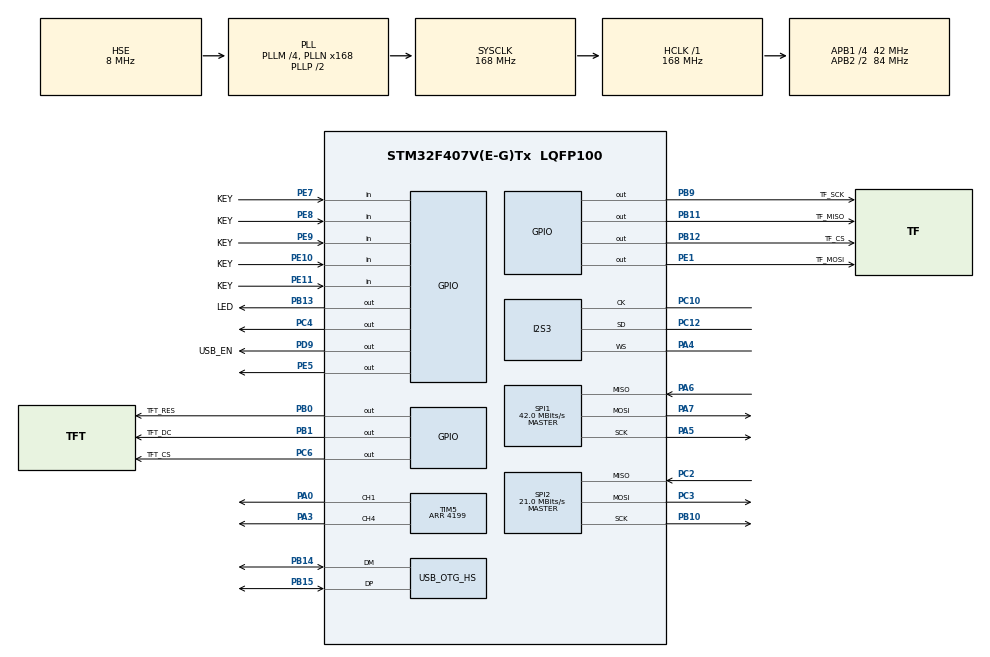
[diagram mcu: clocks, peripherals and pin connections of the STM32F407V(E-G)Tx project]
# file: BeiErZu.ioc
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FATFS._USE_FIND=1
FATFS._USE_LFN=3
FATFS._USE_MUTEX=0
FREERTOS.Tasks01=defaultTask,24,128,StartDefaultTask,Default,NULL,Dynamic,NULL,NULL
I2S3.AudioFreq=I2S_AUDIOFREQ_44K
I2S3.ErrorAudioFreq=0.26 %
I2S3.FullDuplexMode=I2S_FULLDUPLEXMODE_DISABLE
I2S3.Instance=SPI$Index
I2S3.RealAudioFreq=44.117 KHz
I2S3.VirtualMode=I2S_MODE_MASTER
Mcu.Family=STM32F4
Mcu.Name=STM32F407V(E-G)Tx
Mcu.Package=LQFP100
NVIC.OTG_HS_IRQn=true\:5\:0\:false\:false\:true\:true\:false\:true\:true
NVIC.PriorityGroup=NVIC_PRIORITYGROUP_4
NVIC.TIM1_TRG_COM_TIM11_IRQn=true\:15\:0\:false\:false\:true\:false\:false\:true\:true
NVIC.TimeBase=TIM1_TRG_COM_TIM11_IRQn
NVIC.TimeBaseIP=TIM11
PA0-WKUP.Signal=S_TIM5_CH1
PA13.Mode=Serial_Wire
PA13.Signal=SYS_JTMS-SWDIO
PA14.Mode=Serial_Wire
PA14.Signal=SYS_JTCK-SWCLK
PA3.Signal=S_TIM5_CH4
PA4.Mode=Half_Duplex_Master
PA4.Signal=I2S3_WS
PA5.Mode=Full_Duplex_Master
PA5.Signal=SPI1_SCK
PA6.Mode=Full_Duplex_Master
PA6.Signal=SPI1_MISO
PA7.Mode=Full_Duplex_Master
PA7.Signal=SPI1_MOSI
PB0.GPIO_Label=TFT_RES
PB0.Signal=GPIO_Output
PB1.GPIO_Label=TFT_DC
PB1.Signal=GPIO_Output
PB10.Mode=Full_Duplex_Master
PB10.Signal=SPI2_SCK
PB11.GPIO_Label=TF_MISO
PB11.Signal=GPIO_Output
PB12.GPIO_Label=TF_CS
PB12.Signal=GPIO_Output
PB13.GPIO_Label=LED
PB13.GPIO_ModeDefaultOutputPP=GPIO_MODE_OUTPUT_PP
PB13.GPIO_PuPd=GPIO_NOPULL
PB13.PinState=GPIO_PIN_RESET
PB13.Signal=GPIO_Output
PB14.Mode=Host_FS
PB14.Signal=USB_OTG_HS_DM
PB15.Mode=Host_FS
PB15.Signal=USB_OTG_HS_DP
PB9.GPIO_Label=TF_SCK
PB9.Signal=GPIO_Output
PC10.Mode=Half_Duplex_Master
PC10.Signal=I2S3_CK
PC12.Mode=Half_Duplex_Master
PC12.Signal=I2S3_SD
PC14-OSC32_IN.Mode=LSE-External-Oscillator
PC14-OSC32_IN.Signal=RCC_OSC32_IN
PC15-OSC32_OUT.Mode=LSE-External-Oscillator
PC15-OSC32_OUT.Signal=RCC_OSC32_OUT
PC2.Mode=Full_Duplex_Master
PC2.Signal=SPI2_MISO
PC3.Mode=Full_Duplex_Master
PC3.Signal=SPI2_MOSI
PC4.Signal=GPIO_Output
PC6.GPIO_Label=TFT_CS
PC6.Signal=GPIO_Output
PD9.GPIO_Label=USB_EN
PD9.GPIO_ModeDefaultOutputPP=GPIO_MODE_OUTPUT_PP
PD9.PinState=GPIO_PIN_SET
PD9.Signal=GPIO_Output
PE1.GPIO_Label=TF_MOSI
PE1.Signal=GPIO_Output
PE10.GPIO_Label=KEY
PE10.GPIO_Mode=GPIO_MODE_INPUT
PE10.GPIO_PuPd=GPIO_PULLUP
PE10.Signal=GPIO_Input
PE11.GPIO_Label=KEY
PE11.GPIO_Mode=GPIO_MODE_INPUT
PE11.GPIO_PuPd=GPIO_PULLUP
PE11.Signal=GPIO_Input
PE5.Signal=GPIO_Output
PE7.GPIO_Label=KEY
PE7.GPIO_Mode=GPIO_MODE_INPUT
PE7.GPIO_PuPd=GPIO_PULLUP
PE7.Signal=GPIO_Input
PE8.GPIO_Label=KEY
PE8.GPIO_Mode=GPIO_MODE_INPUT
PE8.GPIO_PuPd=GPIO_PULLUP
PE8.Signal=GPIO_Input
PE9.GPIO_Label=KEY
PE9.GPIO_Mode=GPIO_MODE_INPUT
PE9.GPIO_PuPd=GPIO_PULLUP
PE9.Signal=GPIO_Input
PH0-OSC_IN.Mode=HSE-External-Oscillator
PH0-OSC_IN.Signal=RCC_OSC_IN
PH1-OSC_OUT.Mode=HSE-External-Oscillator
PH1-OSC_OUT.Signal=RCC_OSC_OUT
ProjectManager.HeapSize=0x200
ProjectManager.StackSize=0x400
ProjectManager.TargetToolchain=CMake
RCC.48MHZClocksFreq_Value=48000000
RCC.AHBFreq_Value=168000000
RCC.APB1CLKDivider=RCC_HCLK_DIV4
RCC.APB1Freq_Value=42000000
RCC.APB1TimFreq_Value=84000000
RCC.APB2CLKDivider=RCC_HCLK_DIV2
RCC.APB2Freq_Value=84000000
RCC.APB2TimCLKDivider=2
RCC.APB2TimFreq_Value=168000000
RCC.CortexFreq_Value=168000000
RCC.HCLKFreq_Value=168000000
RCC.HSE_VALUE=8000000
RCC.HSI_VALUE=16000000
RCC.PLLM=4
RCC.PLLN=168
RCC.PLLQ=7
RCC.SYSCLKFreq_VALUE=168000000
RCC.SYSCLKSource=RCC_SYSCLKSOURCE_PLLCLK
RCC.VCOOutputFreq_Value=336000000
SH.S_TIM5_CH1.0=TIM5_CH1,PWM Generation1 CH1
SH.S_TIM5_CH4.0=TIM5_CH4,PWM Generation4 CH4
SPI1.BaudRatePrescaler=SPI_BAUDRATEPRESCALER_2
SPI1.CLKPhase=SPI_PHASE_1EDGE
SPI1.CLKPolarity=SPI_POLARITY_LOW
SPI1.CalculateBaudRate=42.0 MBits/s
SPI1.Direction=SPI_DIRECTION_2LINES
SPI1.Mode=SPI_MODE_MASTER
SPI1.VirtualType=VM_MASTER
SPI2.CalculateBaudRate=21.0 MBits/s
SPI2.Direction=SPI_DIRECTION_2LINES
SPI2.Mode=SPI_MODE_MASTER
SPI2.VirtualType=VM_MASTER
TIM5.Channel-PWM\ Generation1\ CH1=TIM_CHANNEL_1
TIM5.Channel-PWM\ Generation4\ CH4=TIM_CHANNEL_4
TIM5.Period=4199
USB_HOST.SW_VBUS_DRIVE_HID_HS=true
USB_HOST.USBH_HandleTypeDef-HID_HS=hUsbHostHS
USB_HOST.USBH_PROCESS_STACK_SIZE=1024
USB_HOST.VirtualModeHS=Hid
USB_OTG_HS.VirtualMode-Host_FS=Host_FS
VP_FATFS_VS_Generic.Mode=User_defined
VP_FREERTOS_VS_CMSIS_V2.Mode=CMSIS_V2
VP_SYS_VS_tim11.Mode=TIM11
VP_TIM5_VS_ClockSourceINT.Mode=Internal
VP_USB_HOST_VS_USB_HOST_HID_HS.Mode=HID_HS
board=custom

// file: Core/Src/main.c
/* USER CODE BEGIN Header */
/**
  ******************************************************************************
  * @file           : main.c
  * @brief          : Main program body
  ******************************************************************************
  * @attention
  *
  * Copyright (c) 2026 STMicroelectronics.
  * All rights reserved.
  *
  * This software is licensed under terms that can be found in the LICENSE file
  * in the root directory of this software component.
  * If no LICENSE file comes with this software, it is provided AS-IS.
  *
  ******************************************************************************
  */
/* USER CODE END Header */
#include "main.h"
#include "cmsis_os.h"
#include "i2s.h"
#include "spi.h"
#include "tim.h"
#include "usb_host.h"
#include "gpio.h"

/* USER CODE BEGIN Includes */
#include "app_backlight.h"
#include "app_led.h"
#include "app_lcd.h"
#include "app_lvgl.h"
/* USER CODE END Includes */

void SystemClock_Config(void);
void MX_FREERTOS_Init(void);

/* USER CODE BEGIN 0 */
uint8_t lcd_num = 0;
/* USER CODE END 0 */

int main(void)
{

  /* MCU Configuration--------------------------------------------------------*/

  /* Reset of all peripherals, Initializes the Flash interface and the Systick. */
  HAL_Init();

  /* Configure the system clock */
  SystemClock_Config();

  /* Initialize all configured peripherals */
  MX_GPIO_Init();
  MX_SPI1_Init();
  MX_SPI2_Init();
  MX_TIM5_Init();
  MX_I2S3_Init();
  /* USER CODE BEGIN 2 */
  app_backlight_init(50);

  /* USER CODE END 2 */

  /* Init scheduler */
  osKernelInitialize();

  /* Call init function for freertos objects (in cmsis_os2.c) */
  MX_FREERTOS_Init();

  /* Start scheduler */
  osKernelStart();

  /* We should never get here as control is now taken by the scheduler */

  /* Infinite loop */
  while (1)
  {

  }
}

void SystemClock_Config(void)
{
  RCC_OscInitTypeDef RCC_OscInitStruct = {0};
  RCC_ClkInitTypeDef RCC_ClkInitStruct = {0};

  /** Configure the main internal regulator output voltage
  */
  __HAL_RCC_PWR_CLK_ENABLE();
  __HAL_PWR_VOLTAGESCALING_CONFIG(PWR_REGULATOR_VOLTAGE_SCALE1);

  /** Initializes the RCC Oscillators according to the specified parameters
  * in the RCC_OscInitTypeDef structure.
  */
  RCC_OscInitStruct.OscillatorType = RCC_OSCILLATORTYPE_HSE;
  RCC_OscInitStruct.HSEState = RCC_HSE_ON;
  RCC_OscInitStruct.PLL.PLLState = RCC_PLL_ON;
  RCC_OscInitStruct.PLL.PLLSource = RCC_PLLSOURCE_HSE;
  RCC_OscInitStruct.PLL.PLLM = 4;
  RCC_OscInitStruct.PLL.PLLN = 168;
  RCC_OscInitStruct.PLL.PLLP = RCC_PLLP_DIV2;
  RCC_OscInitStruct.PLL.PLLQ = 7;
  if (HAL_RCC_OscConfig(&RCC_OscInitStruct) != HAL_OK)
  {
    Error_Handler();
  }

  /** Initializes the CPU, AHB and APB buses clocks
  */
  RCC_ClkInitStruct.ClockType = RCC_CLOCKTYPE_HCLK|RCC_CLOCKTYPE_SYSCLK
                              |RCC_CLOCKTYPE_PCLK1|RCC_CLOCKTYPE_PCLK2;
  RCC_ClkInitStruct.SYSCLKSource = RCC_SYSCLKSOURCE_PLLCLK;
  RCC_ClkInitStruct.AHBCLKDivider = RCC_SYSCLK_DIV1;
  RCC_ClkInitStruct.APB1CLKDivider = RCC_HCLK_DIV4;
  RCC_ClkInitStruct.APB2CLKDivider = RCC_HCLK_DIV2;

  if (HAL_RCC_ClockConfig(&RCC_ClkInitStruct, FLASH_LATENCY_5) != HAL_OK)
  {
    Error_Handler();
  }
}

void HAL_TIM_PeriodElapsedCallback(TIM_HandleTypeDef *htim)
{
  if (htim->Instance == TIM11) {
    HAL_IncTick();
    lv_tick_inc(1);
  }
}

void Error_Handler(void)
{
  __disable_irq();
  while (1)
  {
  }
}

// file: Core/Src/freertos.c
/* USER CODE BEGIN Header */
/**
  ******************************************************************************
  * File Name          : freertos.c
  * Description        : Code for freertos applications
  ******************************************************************************
  * @attention
  *
  * Copyright (c) 2026 STMicroelectronics.
  * All rights reserved.
  *
  * This software is licensed under terms that can be found in the LICENSE file
  * in the root directory of this software component.
  * If no LICENSE file comes with this software, it is provided AS-IS.
  *
  ******************************************************************************
  */
/* USER CODE END Header */

#include "FreeRTOS.h"
#include "task.h"
#include "main.h"
#include "cmsis_os.h"

/* USER CODE BEGIN Includes */
#include "app_led.h"
#include "app_lcd.h"
#include "app_lvgl.h"
#include "app_mouse.h"
#include "app_music_player.h"
#include "app_ui.h"
#include "app_w25q128.h"
#include "app_event.h"
#include "app_fault.h"
/* USER CODE END Includes */

/* USER CODE BEGIN Variables */
osThreadId_t startTaskHandle;
osThreadId_t keyTaskHandle;
osThreadId_t lcdTaskHandle;
osThreadId_t w25q128TaskHandle;
osThreadId_t usbinitTaskHandle;
osThreadId_t audioTaskHandle;
osThreadId_t saveTaskHandle;
const osThreadAttr_t startTask_attributes = {
  .name = "startTask",
#if APP_W25Q128_FONT_PROGRAMMER_ENABLE
  .stack_size = 1536,
#else
  .stack_size = 256 * 4,
#endif
  .priority = (osPriority_t) osPriorityNormal,
};
const osThreadAttr_t keyTask_attributes = {
  .name = "keyTask",
  .stack_size = 128 * 4,
  .priority = (osPriority_t) osPriorityNormal,
};
const osThreadAttr_t lcdTask_attributes = {
  .name = "lcdTask",
  .stack_size = 4096,
  .priority = (osPriority_t) osPriorityNormal,
};
const osThreadAttr_t w25q128Task_attributes = {
  .name = "w25q128Task",
  .stack_size = 1024,
  .priority = (osPriority_t) osPriorityNormal,
};
const osThreadAttr_t initTask_attributes = {
  .name = "initTask",
  .stack_size = 256 * 4,
  .priority = (osPriority_t) osPriorityNormal,
};
const osThreadAttr_t audioTask_attributes = {
  .name = "audioTask",
  .stack_size = 2048,
  /* 音频任务优先级必须高于 LCD/按键任务（同为 osPriorityNormal）：
   * 读卡填缓冲是“忙等不释放 CPU”的软件 SPI，若与 LVGL 渲染同优先级时间片轮转，
   * 容易被抢断导致读卡赶不上 46ms 的 DMA 播放窗口 -> underrun -> I2S transmit failed。 */
  .priority = (osPriority_t) osPriorityAboveNormal,
};
const osThreadAttr_t saveTask_attributes = {
  .name = "saveTask",
  .stack_size = 1024,
  .priority = (osPriority_t) osPriorityBelowNormal,
};
/* USER CODE END Variables */
/* Definitions for defaultTask */
osThreadId_t defaultTaskHandle;
const osThreadAttr_t defaultTask_attributes = {
  .name = "defaultTask",
  .stack_size = 128 * 4,
  .priority = (osPriority_t) osPriorityNormal,
};

/* USER CODE BEGIN FunctionPrototypes */
void StartStartTask(void *argument);
void StartKeyTask(void *argument);
void StartLCDTask(void *argument);
void StartW25Q128Task(void *argument);
void StartInitTask(void *argument);
void StartAudioTask(void *argument);
void StartSaveTask(void *argument);
/* USER CODE END FunctionPrototypes */

void StartDefaultTask(void *argument);

extern void MX_USB_HOST_Init(void);
void MX_FREERTOS_Init(void); /* (MISRA C 2004 rule 8.1) */

void MX_FREERTOS_Init(void) {
  /* USER CODE BEGIN Init */
  app_event_init();
  app_ui_storage_service_init();

  /* USER CODE END Init */

  /* Create the thread(s) */
  /* creation of defaultTask */
  defaultTaskHandle = osThreadNew(StartDefaultTask, NULL, &defaultTask_attributes);

  /* USER CODE BEGIN RTOS_THREADS */
  /* add threads, ... */
  startTaskHandle = osThreadNew(StartStartTask, NULL, &startTask_attributes);
  /* USER CODE END RTOS_THREADS */

}

void StartDefaultTask(void *argument)
{
  (void)argument;

  for(;;)
  {
    osDelay(1);
  }
}

/* USER CODE BEGIN Application */
void StartStartTask(void *argument)
{
  (void)argument;
  app_fault_init();
#if APP_W25Q128_FONT_PROGRAMMER_ENABLE
  (void)app_w25q128_program_ui_font_image();
#endif
  keyTaskHandle = osThreadNew(StartKeyTask, NULL, &keyTask_attributes);
  saveTaskHandle = osThreadNew(StartSaveTask, NULL, &saveTask_attributes);
  lcdTaskHandle = osThreadNew(StartLCDTask, NULL, &lcdTask_attributes);
  w25q128TaskHandle = osThreadNew(StartW25Q128Task, NULL, &w25q128Task_attributes);
  usbinitTaskHandle = osThreadNew(StartInitTask, NULL, &initTask_attributes);
  app_music_player_init();
  audioTaskHandle = osThreadNew(StartAudioTask, NULL, &audioTask_attributes);

  /* 故障保护：注册可自动重启的任务，并启动监控任务 */
  app_fault_register_restartable(APP_FAULT_TASK_AUDIO, &audioTaskHandle,
                                 StartAudioTask, &audioTask_attributes);
  app_fault_register_restartable(APP_FAULT_TASK_SAVE, &saveTaskHandle,
                                 StartSaveTask, &saveTask_attributes);
  app_fault_start();

  osThreadExit();
}

void StartKeyTask(void *argument)
{
  (void)argument;
  g_key_queue = KeyQueueInit();
  key_scan_reset();

  for(;;)
  {
    key_scan();
    app_fault_heartbeat(APP_FAULT_TASK_KEY);
    osDelay(10);
  }
}

void StartLCDTask(void *argument)
{
  app_key_event_t key_event;
  (void)argument;
  lv_init();
  lv_port_disp_init();
  app_ui_create();
  lv_timer_handler();
  osDelay(10);
  app_mouse_init();

  for(;;)
  {
    app_fault_heartbeat(APP_FAULT_TASK_LCD);

    while (g_key_queue != NULL && xQueueReceive(g_key_queue, &key_event, 0) == pdPASS)
    {
      app_ui_key_push(key_event.key_id, (uint32_t)key_event.generated_tick);
      app_ui_process_keys();
    }

    app_ui_process_keys();
    app_ui_handle_idle();
    lv_timer_handler();
    osDelay(2);
  }
}
void StartW25Q128Task(void *argument)
{
  (void)argument;
  bsp_w25q128_status_t ret;

  ret = app_w25q128_init();
  if(ret == BSP_W25Q128_OK) {
    if (app_event_wait(APP_EVT_UI_READY, portMAX_DELAY)) {
      app_ui_load_w25q128_resources();
    }
  } else {

  }

  osThreadExit();
}
void StartInitTask(void *argument)
{
  (void)argument;
  MX_USB_HOST_Init();
  osThreadExit();
}
void StartAudioTask(void *argument)
{
  app_fault_task_entered(APP_FAULT_TASK_AUDIO);
  app_music_player_task(argument);
  app_fault_task_exited(APP_FAULT_TASK_AUDIO);
  osThreadExit();
}
void StartSaveTask(void *argument)
{
  app_fault_task_entered(APP_FAULT_TASK_SAVE);
  app_ui_storage_task(argument);
  app_fault_task_exited(APP_FAULT_TASK_SAVE);
  osThreadExit();
}
/* USER CODE END Application */
